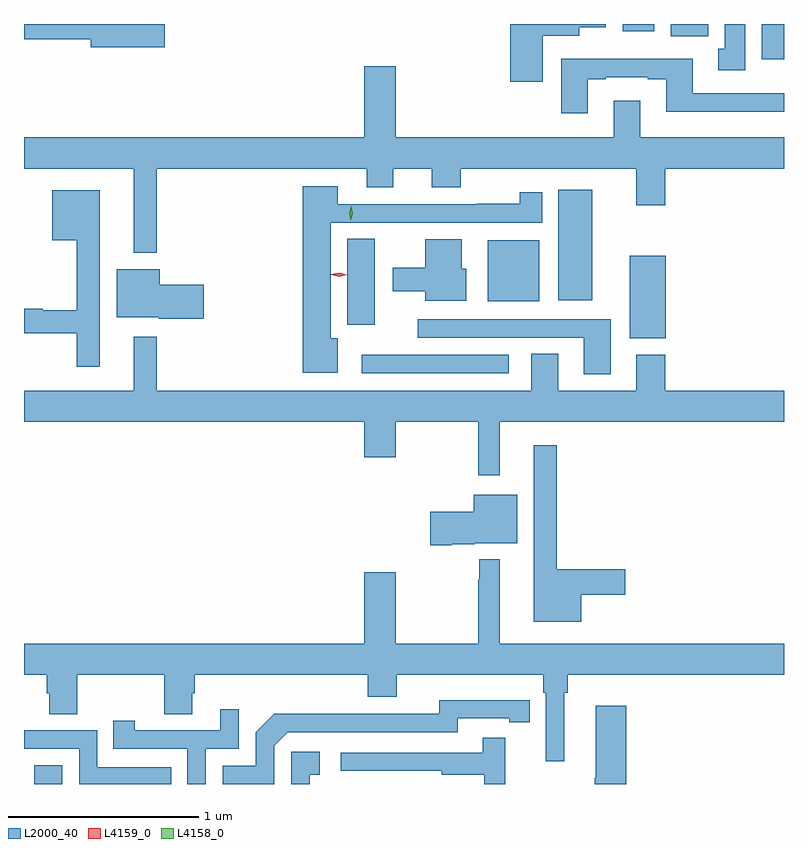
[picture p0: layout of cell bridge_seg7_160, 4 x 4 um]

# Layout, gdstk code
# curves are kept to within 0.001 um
import gdstk
lib = gdstk.Library(unit=1e-6, precision=1e-09)
def R(c, l, rs):  # rectangles x0, y0, x1, y1
    for r in rs: c.add(gdstk.rectangle(r[:2], r[2:], *l))
def P(c, l, *ps):  # polygons
    for p in ps: c.add(gdstk.Polygon(p, *l))
L2000_40 = (2000, 40)
L4158_0 = (4158, 0)
L4159_0 = (4159, 0)

bridge_seg7_160 = lib.new_cell('bridge_seg7_160')
R(bridge_seg7_160, L2000_40, [(379.053,1041.333,379.2,1041.433), (380.778,1043.496,381.55,1043.592), (382.187,1043.678,382.378,1044.112), (380.702,1043.751,380.845,1044.203), (381.44,1043.873,381.712,1044.196), (381.812,1043.879,381.991,1044.46), (382.883,1045.148,383,1045.333), (382.403,1045.268,382.6,1045.333), (382.151,1045.296,382.318,1045.333)])
P(bridge_seg7_160, L2000_40, [(379.741,1045.333),(379,1045.333),(379,1045.252),(379.352,1045.252),(379.352,1045.21),(379.741,1045.21)],
  [(382.795,1045.333),(382.688,1045.333),(382.688,1045.202),(382.655,1045.202),(382.655,1045.089),(382.795,1045.089)],
  [(381.73,1045.271),(381.922,1045.271),(381.922,1045.316),(382.063,1045.316),(382.063,1045.333),(381.56,1045.333),(381.56,1045.029),(381.73,1045.029)],
  [(381.967,1045.041),(382.063,1045.041),(382.063,1045.053),(382.283,1045.053),(382.283,1045.041),(382.379,1045.041),(382.379,1044.872),(383,1044.872),(383,1044.969),(382.519,1044.969),(382.519,1045.15),(381.827,1045.15),(381.827,1044.864),(381.967,1044.864)],
  [(379.699,1044.572),(380.804,1044.572),(380.804,1044.473),(380.944,1044.473),(380.944,1044.572),(381.146,1044.572),(381.146,1044.473),(381.299,1044.473),(381.299,1044.572),(382.223,1044.572),(382.223,1044.378),(382.376,1044.378),(382.376,1044.572),(383,1044.572),(383,1044.736),(382.243,1044.736),(382.243,1044.93),(382.103,1044.93),(382.103,1044.736),(380.956,1044.736),(380.956,1045.111),(380.792,1045.111),(380.792,1044.736),(379,1044.736),(379,1044.572),(379.577,1044.572),(379.577,1044.128),(379.699,1044.128)],
  [(380.65,1043.68),(380.614,1043.68),(380.614,1044.288),(381.727,1044.288),(381.727,1044.448),(381.61,1044.448),(381.61,1044.386),(381.382,1044.386),(381.382,1044.384),(380.65,1044.384),(380.65,1044.478),(380.468,1044.478),(380.468,1043.498),(380.65,1043.498)],
  [(379.399,1044.457),(379.148,1044.457),(379.148,1044.194),(379.278,1044.194),(379.278,1043.827),(379.099,1043.827),(379.099,1043.834),(379,1043.834),(379,1043.706),(379.278,1043.706),(379.278,1043.529),(379.399,1043.529)],
  [(381.328,1044.045),(381.304,1044.045),(381.304,1044.199),(381.113,1044.199),(381.113,1044.049),(380.94,1044.049),(380.94,1043.927),(381.113,1043.927),(381.113,1043.876),(381.328,1043.876)],
  [(379.945,1043.96),(379.714,1043.96),(379.714,1044.043),(379.487,1044.043),(379.487,1043.789),(379.71,1043.789),(379.71,1043.782),(379.945,1043.782)],
  [(382.087,1043.778),(381.072,1043.778),(381.072,1043.682),(381.947,1043.682),(381.947,1043.49),(382.087,1043.49)],
  [(381.505,1043.24),(383,1043.24),(383,1043.404),(382.376,1043.404),(382.376,1043.593),(382.223,1043.593),(382.223,1043.404),(381.811,1043.404),(381.811,1043.597),(381.671,1043.597),(381.671,1043.404),(379.699,1043.404),(379.699,1043.686),(379.577,1043.686),(379.577,1043.404),(379,1043.404),(379,1043.24),(380.792,1043.24),(380.792,1043.052),(380.956,1043.052),(380.956,1043.24),(381.391,1043.24),(381.391,1042.959),(381.505,1042.959)],
  [(381.934,1042.328),(382.165,1042.328),(382.165,1042.463),(381.805,1042.463),(381.805,1043.116),(381.683,1043.116),(381.683,1042.187),(381.934,1042.187)],
  [(381.25,1042.594),(381.372,1042.594),(381.372,1042.601),(381.595,1042.601),(381.595,1042.855),(381.368,1042.855),(381.368,1042.767),(381.138,1042.767),(381.138,1042.589),(381.25,1042.589)],
  [(381.844,1041.812),(381.863,1041.812),(381.863,1041.908),(383,1041.908),(383,1042.072),(381.505,1042.072),(381.505,1042.516),(381.395,1042.516),(381.395,1042.409),(381.391,1042.409),(381.391,1042.072),(380.956,1042.072),(380.956,1042.447),(380.792,1042.447),(380.792,1042.072),(379,1042.072),(379,1041.908),(379.121,1041.908),(379.121,1041.81),(379.133,1041.81),(379.133,1041.7),(379.281,1041.7),(379.281,1041.908),(379.738,1041.908),(379.738,1041.7),(379.885,1041.7),(379.885,1041.81),(379.898,1041.81),(379.898,1041.908),(380.81,1041.908),(380.81,1041.791),(380.962,1041.791),(380.962,1041.908),(381.734,1041.908),(381.734,1041.812),(381.747,1041.812),(381.747,1041.453),(381.844,1041.453)],
  [(380.316,1041.534),(380.388,1041.606),(381.282,1041.606),(381.282,1041.678),(381.554,1041.678),(381.554,1041.658),(381.662,1041.658),(381.662,1041.774),(381.186,1041.775),(381.186,1041.702),(380.726,1041.702),(380.726,1041.704),(380.318,1041.704),(380.22,1041.606),(380.22,1041.429),(380.046,1041.429),(380.046,1041.333),(380.316,1041.333)],
  [(382.169,1041.745),(382.01,1041.745),(382.01,1041.365),(382.003,1041.365),(382.003,1041.333),(382.169,1041.333)],
  [(379.956,1041.519),(380.13,1041.519),(380.13,1041.727),(380.033,1041.727),(380.033,1041.615),(379.582,1041.615),(379.582,1041.667),(379.471,1041.667),(379.471,1041.519),(379.86,1041.519),(379.86,1041.333),(379.956,1041.333)],
  [(379.775,1041.42),(379.386,1041.42),(379.386,1041.615),(379,1041.615),(379,1041.519),(379.29,1041.519),(379.29,1041.333),(379.775,1041.333)],
  [(381.533,1041.577),(381.415,1041.577),(381.415,1041.498),(380.667,1041.498),(380.667,1041.402),(381.199,1041.402),(381.199,1041.382),(381.423,1041.382),(381.423,1041.333),(381.533,1041.333)],
  [(380.504,1041.381),(380.557,1041.381),(380.557,1041.502),(380.406,1041.502),(380.406,1041.333),(380.504,1041.333)])
P(bridge_seg7_160, L4158_0, [(380.72,1044.301),(380.72,1044.301),(380.711,1044.338),(380.722,1044.373),(380.722,1044.373),(380.723,1044.373),(380.731,1044.337),(380.72,1044.301)])
P(bridge_seg7_160, L4159_0, [(380.658,1044.004),(380.618,1044.014),(380.617,1044.015),(380.618,1044.015),(380.658,1044.024),(380.699,1044.013),(380.699,1044.013),(380.699,1044.013)])

lib.write_gds('bridge_seg7_160.gds')
